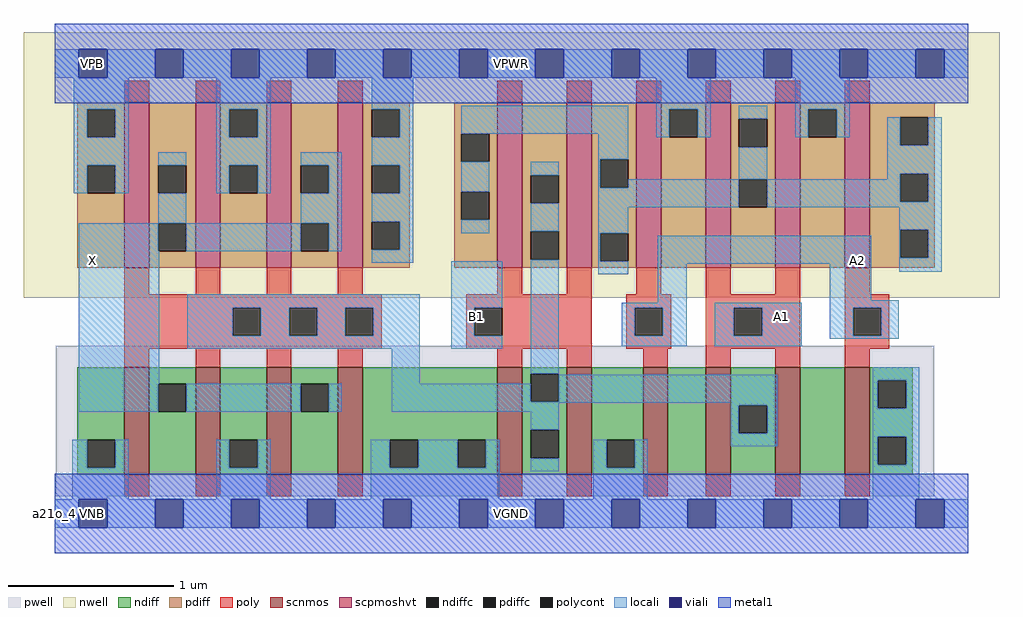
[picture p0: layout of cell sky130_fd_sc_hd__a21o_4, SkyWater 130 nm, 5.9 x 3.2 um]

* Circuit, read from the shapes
.subckt sky130_fd_sc_hd__a21o_4 A1 A2 B1 VGND VNB VPB VPWR X
XM1 X n1 VGND VNB sky130_fd_pr__nfet_01v8 w=0.65 l=0.15 m=4
XM2 n1 B1 VGND VNB sky130_fd_pr__nfet_01v8 w=0.65 l=0.15 m=2
XM3 n2 A2 VGND VNB sky130_fd_pr__nfet_01v8 w=0.65 l=0.15
XM4 n1 A1 n2 VNB sky130_fd_pr__nfet_01v8 w=0.65 l=0.15
XM5 n3 A1 n1 VNB sky130_fd_pr__nfet_01v8 w=0.65 l=0.15
XM6 VGND A2 n3 VNB sky130_fd_pr__nfet_01v8 w=0.65 l=0.15
XM7 X n1 VPWR VPB sky130_fd_pr__pfet_01v8_hvt w=1 l=0.15 m=4
XM8 n1 B1 n4 VPB sky130_fd_pr__pfet_01v8_hvt w=1 l=0.15 m=2
XM9 VPWR A2 n4 VPB sky130_fd_pr__pfet_01v8_hvt w=1 l=0.15 m=2
XM10 n4 A1 VPWR VPB sky130_fd_pr__pfet_01v8_hvt w=1 l=0.15 m=2
.ends

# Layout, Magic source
magic
tech sky130A
magscale 1 2
<< nwell >>
rect -38 261 1142 582
<< pwell >>
rect 1 21 1063 203
rect 29 -17 63 21
<< scnmos >>
rect 84 47 114 177
rect 170 47 200 177
rect 256 47 286 177
rect 342 47 372 177
rect 535 47 565 177
rect 619 47 649 177
rect 711 47 741 177
rect 787 47 817 177
rect 871 47 901 177
rect 955 47 985 177
<< scpmoshvt >>
rect 84 297 114 497
rect 170 297 200 497
rect 256 297 286 497
rect 342 297 372 497
rect 535 297 565 497
rect 619 297 649 497
rect 703 297 733 497
rect 787 297 817 497
rect 871 297 901 497
rect 955 297 985 497
<< ndiff >>
rect 27 89 84 177
rect 27 55 39 89
rect 73 55 84 89
rect 27 47 84 55
rect 114 157 170 177
rect 114 123 125 157
rect 159 123 170 157
rect 114 47 170 123
rect 200 89 256 177
rect 200 55 211 89
rect 245 55 256 89
rect 200 47 256 55
rect 286 157 342 177
rect 286 123 297 157
rect 331 123 342 157
rect 286 47 342 123
rect 372 89 535 177
rect 372 55 405 89
rect 439 55 487 89
rect 521 55 535 89
rect 372 47 535 55
rect 565 169 619 177
rect 565 135 575 169
rect 609 135 619 169
rect 565 101 619 135
rect 565 67 575 101
rect 609 67 619 101
rect 565 47 619 67
rect 649 89 711 177
rect 649 55 667 89
rect 701 55 711 89
rect 649 47 711 55
rect 741 47 787 177
rect 817 131 871 177
rect 817 97 827 131
rect 861 97 871 131
rect 817 47 871 97
rect 901 47 955 177
rect 985 161 1037 177
rect 985 127 995 161
rect 1029 127 1037 161
rect 985 93 1037 127
rect 985 59 995 93
rect 1029 59 1037 93
rect 985 47 1037 59
<< pdiff >>
rect 27 489 84 497
rect 27 455 39 489
rect 73 455 84 489
rect 27 421 84 455
rect 27 387 39 421
rect 73 387 84 421
rect 27 297 84 387
rect 114 421 170 497
rect 114 387 125 421
rect 159 387 170 421
rect 114 351 170 387
rect 114 317 125 351
rect 159 317 170 351
rect 114 297 170 317
rect 200 489 256 497
rect 200 455 211 489
rect 245 455 256 489
rect 200 421 256 455
rect 200 387 211 421
rect 245 387 256 421
rect 200 297 256 387
rect 286 421 342 497
rect 286 387 297 421
rect 331 387 342 421
rect 286 351 342 387
rect 286 317 297 351
rect 331 317 342 351
rect 286 297 342 317
rect 372 489 429 497
rect 372 455 383 489
rect 417 455 429 489
rect 372 421 429 455
rect 372 387 383 421
rect 417 387 429 421
rect 372 353 429 387
rect 372 319 383 353
rect 417 319 429 353
rect 372 297 429 319
rect 483 459 535 497
rect 483 425 491 459
rect 525 425 535 459
rect 483 389 535 425
rect 483 355 491 389
rect 525 355 535 389
rect 483 297 535 355
rect 565 409 619 497
rect 565 375 575 409
rect 609 375 619 409
rect 565 341 619 375
rect 565 307 575 341
rect 609 307 619 341
rect 565 297 619 307
rect 649 428 703 497
rect 649 394 659 428
rect 693 394 703 428
rect 649 339 703 394
rect 649 305 659 339
rect 693 305 703 339
rect 649 297 703 305
rect 733 489 787 497
rect 733 455 743 489
rect 777 455 787 489
rect 733 297 787 455
rect 817 477 871 497
rect 817 443 827 477
rect 861 443 871 477
rect 817 404 871 443
rect 817 370 827 404
rect 861 370 871 404
rect 817 297 871 370
rect 901 489 955 497
rect 901 455 911 489
rect 945 455 955 489
rect 901 297 955 455
rect 985 479 1064 497
rect 985 445 1022 479
rect 1056 445 1064 479
rect 985 411 1064 445
rect 985 377 1022 411
rect 1056 377 1064 411
rect 985 343 1064 377
rect 985 309 1022 343
rect 1056 309 1064 343
rect 985 297 1064 309
<< ndiffc >>
rect 39 55 73 89
rect 125 123 159 157
rect 211 55 245 89
rect 297 123 331 157
rect 405 55 439 89
rect 487 55 521 89
rect 575 135 609 169
rect 575 67 609 101
rect 667 55 701 89
rect 827 97 861 131
rect 995 127 1029 161
rect 995 59 1029 93
<< pdiffc >>
rect 39 455 73 489
rect 39 387 73 421
rect 125 387 159 421
rect 125 317 159 351
rect 211 455 245 489
rect 211 387 245 421
rect 297 387 331 421
rect 297 317 331 351
rect 383 455 417 489
rect 383 387 417 421
rect 383 319 417 353
rect 491 425 525 459
rect 491 355 525 389
rect 575 375 609 409
rect 575 307 609 341
rect 659 394 693 428
rect 659 305 693 339
rect 743 455 777 489
rect 827 443 861 477
rect 827 370 861 404
rect 911 455 945 489
rect 1022 445 1056 479
rect 1022 377 1056 411
rect 1022 309 1056 343
<< poly >>
rect 84 497 114 523
rect 170 497 200 523
rect 256 497 286 523
rect 342 497 372 523
rect 535 497 565 523
rect 619 497 649 523
rect 703 497 733 523
rect 787 497 817 523
rect 871 497 901 523
rect 955 497 985 523
rect 84 265 114 297
rect 170 265 200 297
rect 256 265 286 297
rect 342 265 372 297
rect 535 265 565 297
rect 619 265 649 297
rect 703 265 733 297
rect 787 265 817 297
rect 871 265 901 297
rect 84 249 395 265
rect 84 215 215 249
rect 249 215 283 249
rect 317 215 351 249
rect 385 215 395 249
rect 84 199 395 215
rect 497 249 649 265
rect 497 215 507 249
rect 541 215 649 249
rect 497 199 649 215
rect 691 249 745 265
rect 691 215 701 249
rect 735 215 745 249
rect 691 199 745 215
rect 787 249 901 265
rect 787 215 821 249
rect 855 215 901 249
rect 787 199 901 215
rect 84 177 114 199
rect 170 177 200 199
rect 256 177 286 199
rect 342 177 372 199
rect 535 177 565 199
rect 619 177 649 199
rect 711 177 741 199
rect 787 177 817 199
rect 871 177 901 199
rect 955 265 985 297
rect 955 249 1009 265
rect 955 215 965 249
rect 999 215 1009 249
rect 955 199 1009 215
rect 955 177 985 199
rect 84 21 114 47
rect 170 21 200 47
rect 256 21 286 47
rect 342 21 372 47
rect 535 21 565 47
rect 619 21 649 47
rect 711 21 741 47
rect 787 21 817 47
rect 871 21 901 47
rect 955 21 985 47
<< polycont >>
rect 215 215 249 249
rect 283 215 317 249
rect 351 215 385 249
rect 507 215 541 249
rect 701 215 735 249
rect 821 215 855 249
rect 965 215 999 249
<< locali >>
rect 0 527 29 561
rect 63 527 121 561
rect 155 527 213 561
rect 247 527 305 561
rect 339 527 397 561
rect 431 527 489 561
rect 523 527 581 561
rect 615 527 673 561
rect 707 527 765 561
rect 799 527 857 561
rect 891 527 949 561
rect 983 527 1041 561
rect 1075 527 1104 561
rect 23 489 89 527
rect 23 455 39 489
rect 73 455 89 489
rect 23 421 89 455
rect 195 489 261 527
rect 195 455 211 489
rect 245 455 261 489
rect 23 387 39 421
rect 73 387 89 421
rect 125 421 159 437
rect 195 421 261 455
rect 383 489 433 527
rect 417 455 433 489
rect 195 387 211 421
rect 245 387 261 421
rect 297 421 347 437
rect 331 387 347 421
rect 125 351 159 387
rect 297 351 347 387
rect 29 317 125 351
rect 159 317 297 351
rect 331 317 347 351
rect 383 421 433 455
rect 417 387 433 421
rect 383 353 433 387
rect 417 319 433 353
rect 491 459 693 493
rect 657 428 693 459
rect 727 489 793 527
rect 727 455 743 489
rect 777 455 793 489
rect 827 477 861 493
rect 491 389 525 425
rect 491 339 525 355
rect 575 409 609 425
rect 575 341 609 375
rect 29 157 126 317
rect 383 303 433 319
rect 160 249 441 265
rect 160 215 215 249
rect 249 215 283 249
rect 317 215 351 249
rect 385 215 441 249
rect 160 199 441 215
rect 479 249 541 305
rect 479 215 507 249
rect 479 199 541 215
rect 407 157 441 199
rect 575 169 609 307
rect 657 394 659 428
rect 895 489 961 527
rect 895 455 911 489
rect 945 455 961 489
rect 827 404 861 443
rect 1006 445 1022 479
rect 1056 445 1072 479
rect 1006 411 1072 445
rect 1006 404 1022 411
rect 693 394 827 404
rect 657 370 827 394
rect 861 377 1022 404
rect 1056 377 1072 411
rect 861 370 1072 377
rect 657 339 693 370
rect 657 305 659 339
rect 1021 343 1072 370
rect 657 289 693 305
rect 729 302 987 336
rect 729 255 764 302
rect 937 258 987 302
rect 1021 309 1022 343
rect 1056 309 1072 343
rect 1021 292 1072 309
rect 685 249 764 255
rect 685 215 701 249
rect 735 215 764 249
rect 685 202 764 215
rect 798 249 903 255
rect 798 215 821 249
rect 855 215 903 249
rect 798 202 903 215
rect 937 249 1020 258
rect 937 215 965 249
rect 999 215 1020 249
rect 937 211 1020 215
rect 29 123 125 157
rect 159 123 297 157
rect 331 123 347 157
rect 407 135 575 157
rect 609 135 873 168
rect 407 134 873 135
rect 407 123 609 134
rect 575 101 609 123
rect 21 55 39 89
rect 73 55 89 89
rect 21 17 89 55
rect 195 55 211 89
rect 245 55 261 89
rect 195 17 261 55
rect 382 55 405 89
rect 439 55 487 89
rect 521 55 537 89
rect 382 17 537 55
rect 817 131 873 134
rect 817 97 827 131
rect 861 97 873 131
rect 575 51 609 67
rect 651 55 667 89
rect 701 55 717 89
rect 817 81 873 97
rect 989 161 1045 177
rect 989 127 995 161
rect 1029 127 1045 161
rect 989 93 1045 127
rect 651 17 717 55
rect 989 59 995 93
rect 1029 59 1045 93
rect 989 17 1045 59
rect 0 -17 29 17
rect 63 -17 121 17
rect 155 -17 213 17
rect 247 -17 305 17
rect 339 -17 397 17
rect 431 -17 489 17
rect 523 -17 581 17
rect 615 -17 673 17
rect 707 -17 765 17
rect 799 -17 857 17
rect 891 -17 949 17
rect 983 -17 1041 17
rect 1075 -17 1104 17
<< viali >>
rect 29 527 63 561
rect 121 527 155 561
rect 213 527 247 561
rect 305 527 339 561
rect 397 527 431 561
rect 489 527 523 561
rect 581 527 615 561
rect 673 527 707 561
rect 765 527 799 561
rect 857 527 891 561
rect 949 527 983 561
rect 1041 527 1075 561
rect 29 -17 63 17
rect 121 -17 155 17
rect 213 -17 247 17
rect 305 -17 339 17
rect 397 -17 431 17
rect 489 -17 523 17
rect 581 -17 615 17
rect 673 -17 707 17
rect 765 -17 799 17
rect 857 -17 891 17
rect 949 -17 983 17
rect 1041 -17 1075 17
<< metal1 >>
rect 0 561 1104 592
rect 0 527 29 561
rect 63 527 121 561
rect 155 527 213 561
rect 247 527 305 561
rect 339 527 397 561
rect 431 527 489 561
rect 523 527 581 561
rect 615 527 673 561
rect 707 527 765 561
rect 799 527 857 561
rect 891 527 949 561
rect 983 527 1041 561
rect 1075 527 1104 561
rect 0 496 1104 527
rect 0 17 1104 48
rect 0 -17 29 17
rect 63 -17 121 17
rect 155 -17 213 17
rect 247 -17 305 17
rect 339 -17 397 17
rect 431 -17 489 17
rect 523 -17 581 17
rect 615 -17 673 17
rect 707 -17 765 17
rect 799 -17 857 17
rect 891 -17 949 17
rect 983 -17 1041 17
rect 1075 -17 1104 17
rect 0 -48 1104 -17
<< labels >>
flabel locali s 953 289 987 323 0 FreeSans 340 0 0 0 A2
port 2 nsew signal input
flabel locali s 861 221 895 255 0 FreeSans 340 0 0 0 A1
port 1 nsew signal input
flabel locali s 29 289 63 323 0 FreeSans 340 0 0 0 X
port 8 nsew signal output
flabel locali s 493 221 527 255 0 FreeSans 340 0 0 0 B1
port 3 nsew signal input
flabel pwell s 29 -17 63 17 0 FreeSans 200 0 0 0 VNB
port 5 nsew ground bidirectional
flabel nwell s 29 527 63 561 0 FreeSans 200 0 0 0 VPB
port 6 nsew power bidirectional
flabel metal1 s 29 -17 63 17 0 FreeSans 200 0 0 0 VGND
port 4 nsew ground bidirectional abutment
flabel metal1 s 29 527 63 561 0 FreeSans 200 0 0 0 VPWR
port 7 nsew power bidirectional abutment
rlabel comment s 0 0 0 0 4 a21o_4
rlabel metal1 s 0 -48 1104 48 1 VGND
port 4 nsew ground bidirectional abutment
rlabel metal1 s 0 496 1104 592 1 VPWR
port 7 nsew power bidirectional abutment
<< properties >>
string FIXED_BBOX 0 0 1104 544
string GDS_END 4099060
string GDS_FILE $PDKPATH/libs.ref/sky130_fd_sc_hd/gds/sky130_fd_sc_hd.gds
string GDS_START 4090896
string LEFclass CORE
string LEFsite unithd
string LEFsymmetry X Y R90
string path 0.000 0.000 27.600 0.000 
<< end >>
